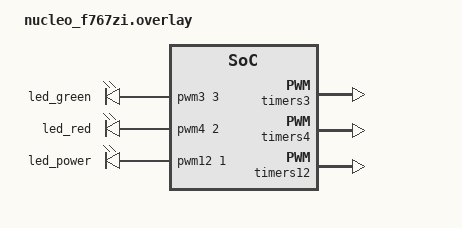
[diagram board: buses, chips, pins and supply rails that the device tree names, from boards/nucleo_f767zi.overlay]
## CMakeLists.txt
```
# Copyright (c) 2024-2025 O.S. Systems Software LTDA.
# Copyright (c) 2024-2025 Freedom Veiculos Eletricos
# SPDX-License-Identifier: Apache-2.0

cmake_minimum_required(VERSION 3.20.0)

find_package(Zephyr REQUIRED HINTS $ENV{ZEPHYR_BASE})
include(${ZEPHYR_ZEPHYRBT_MODULE_DIR}/cmake/zephyrbt-from-behaviourtreecpp-xml.cmake)

project(zephyrbt_tutorial)

zephyr_include_directories(
	${CMAKE_CURRENT_SOURCE_DIR}/include
)

target_sources(app PRIVATE
	src/main.c
	src/fridge.c
	src/global_ctx.c
	src/grab_beer.c
	src/zbus_peripherals.c
)

zephyrbt_define_from_behaviourtreecpp_xml(app
	models/tutorial.xml
	${CMAKE_BINARY_DIR}/include
	${CMAKE_BINARY_DIR}/src
	1024
	0
	yes
)
```

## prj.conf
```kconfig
# Copyright (c) 2024 O.S. Systems Software LTDA.
# Copyright (c) 2024 Freedom Veiculos Eletricos
# SPDX-License-Identifier: Apache-2.0

CONFIG_LOG=y
CONFIG_LOG_MODE_MINIMAL=y

CONFIG_ZEPHYR_BEHAVIOUR_TREE=y
CONFIG_ZEPHYR_BEHAVIOUR_TREE_DYNAMIC=y
CONFIG_ZEPHYR_BEHAVIOUR_TREE_NODE_INFO=y
CONFIG_ZEPHYR_BEHAVIOUR_TREE_NODE_INIT=y
CONFIG_ZEPHYR_BEHAVIOUR_TREE_NODE_CONTEXT=y
CONFIG_ZEPHYR_BEHAVIOUR_TREE_LOG_LEVEL_DBG=y

CONFIG_DYNAMIC_THREAD=y
CONFIG_DYNAMIC_THREAD_POOL_SIZE=10
CONFIG_THREAD_STACK_INFO=y

CONFIG_KERNEL_MEM_POOL=y
CONFIG_HEAP_MEM_POOL_SIZE=8192

CONFIG_ZBUS=y
CONFIG_PWM=y
CONFIG_LED=y
```

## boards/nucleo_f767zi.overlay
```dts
/*
 * Copyright (c) 2024 O.S. Systems Software LTDA.
 * Copyright (c) 2024 Freedom Veiculos Eletricos
 * SPDX-License-Identifier: Apache-2.0
 */

/ {
	/delete-node/ aliases;
	/delete-node/ leds;

        pwmleds: pwmleds {
                compatible = "pwm-leds";
                led_green: led_green {
                        pwms = <&pwm3 3 PWM_MSEC(20) PWM_POLARITY_NORMAL>;
                };
                led_red: led_red {
                        pwms = <&pwm4 2 PWM_MSEC(20) PWM_POLARITY_NORMAL>;
                };
                led_power: led_power {
                        pwms = <&pwm12 1 PWM_MSEC(20) PWM_POLARITY_NORMAL>;
                };
        };
};

&timers3 {
	st,prescaler = <10000>;
	status = "okay";

	pwm3: pwm {
		status = "okay";
		pinctrl-0 = <&tim3_ch3_pb0>;
		pinctrl-names = "default";
	};
};

&timers4 {
	st,prescaler = <10000>;
	status = "okay";

	pwm4: pwm {
		status = "okay";
		pinctrl-0 = <&tim4_ch2_pb7>;
		pinctrl-names = "default";
	};
};

&timers12 {
	st,prescaler = <10000>;
	status = "okay";

	pwm12: pwm {
		status = "okay";
		pinctrl-0 = <&tim12_ch1_pb14>;
		pinctrl-names = "default";
	};
};
```

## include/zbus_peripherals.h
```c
/*
 * Copyright (c) 2024 O.S. Systems Software LTDA.
 * Copyright (c) 2024 Freedom Veiculos Eletricos
 *
 * SPDX-License-Identifier: Apache-2.0
 */

#ifndef ZBUS_PERIPHERALS_H
#define ZBUS_PERIPHERALS_H

enum led_state {
	LEDS_STATES_OFF = 1,
	LEDS_STATES_ON,
	LEDS_STATES_PWM,
} __attribute__((__packed__));

struct pwm_led_state {
	enum led_state state;
	uint32_t high_period;
	uint32_t low_period;
} __attribute__((__packed__));

struct tutorial_peripherals {
	struct pwm_led_state led_green;
	struct pwm_led_state led_red;
};

#define ZBUS_PERIPHERAL_WRITE(...)                                                                 \
	zbus_chan_pub(&peripherals_channel, ((struct tutorial_peripherals[]){{__VA_ARGS__}}),      \
		      K_NO_WAIT)

#endif
```

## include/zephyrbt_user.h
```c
/*
 * Copyright (c) 2024 O.S. Systems Software LTDA.
 * Copyright (c) 2024 Freedom Veiculos Eletricos
 *
 * SPDX-License-Identifier: Apache-2.0
 */

#ifndef ZEPHYRBT_USER_H
#define ZEPHYRBT_USER_H

struct tutorial_context {
	uint8_t my_global_var;
};

#endif /* ZEPHYRBT_USER_H */
```

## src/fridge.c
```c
/*
 * Copyright (c) 2024 O.S. Systems Software LTDA.
 * Copyright (c) 2024 Freedom Veiculos Eletricos
 *
 * SPDX-License-Identifier: Apache-2.0
 */

#include <stdint.h>
#include <zephyr/sys/util.h>
#include <zephyr/zephyrbt/zephyrbt.h>
#include <zephyr/zbus/zbus.h>

#include <zephyr/logging/log.h>
LOG_MODULE_REGISTER(fridge, CONFIG_ZEPHYR_BEHAVIOUR_TREE_LOG_LEVEL);

ZBUS_CHAN_DECLARE(peripherals_channel);

#include "tutorial.h"
#include "zbus_peripherals.h"

struct zephyrbt_action_fridge_context {
	struct zephyrbt_blackboard_item *is_open;
};

enum zephyrbt_child_status zephyrbt_action_open_init(struct zephyrbt_context *ctx,
						     struct zephyrbt_node *self)
{
	struct zephyrbt_action_fridge_context *fridge_ctx;

	fridge_ctx = k_malloc(sizeof(struct zephyrbt_action_fridge_context));
	self->ctx = fridge_ctx;

	if (fridge_ctx == NULL) {
		LOG_ERR("Context can not be allocate. Need more memory!!");
		return ZEPHYRBT_CHILD_FAILURE_STATUS;
	}

	memset(fridge_ctx, 0, sizeof(struct zephyrbt_action_fridge_context));

	fridge_ctx->is_open = zephyrbt_search_blackboard(
		ctx, self->index, ZEPHYRBT_OPEN_ATTRIBUTE_FRIDGE_DOOR_IS_OPEN);

	if (fridge_ctx->is_open == NULL) {
		LOG_ERR("Not possible to get fridge 'is_open' slot");
		return ZEPHYRBT_CHILD_FAILURE_STATUS;
	}

	return ZEPHYRBT_CHILD_SUCCESS_STATUS;
}

enum zephyrbt_child_status zephyrbt_action_close_init(struct zephyrbt_context *ctx,
						      struct zephyrbt_node *self)
{
	struct zephyrbt_action_fridge_context *fridge_ctx;

	fridge_ctx = k_malloc(sizeof(struct zephyrbt_action_fridge_context));
	self->ctx = fridge_ctx;

	if (fridge_ctx == NULL) {
		LOG_ERR("Context can not be allocate. Need more memory!!");
		return ZEPHYRBT_CHILD_FAILURE_STATUS;
	}

	memset(fridge_ctx, 0, sizeof(struct zephyrbt_action_fridge_context));

	fridge_ctx->is_open = zephyrbt_search_blackboard(
		ctx, self->index, ZEPHYRBT_CLOSE_ATTRIBUTE_FRIDGE_DOOR_IS_OPEN);

	if (fridge_ctx->is_open == NULL) {
		LOG_ERR("Not possible to get fridge 'is_open' slot");
		return ZEPHYRBT_CHILD_FAILURE_STATUS;
	}

	return ZEPHYRBT_CHILD_SUCCESS_STATUS;
}

enum zephyrbt_child_status zephyrbt_action_open(struct zephyrbt_context *ctx,
						struct zephyrbt_node *self)
{
	struct zephyrbt_action_fridge_context *fridge_ctx;
	fridge_ctx = (struct zephyrbt_action_fridge_context *)self->ctx;

	if (fridge_ctx->is_open->item == (zephyrbt_node_context_t) true) {
		LOG_DBG("Fridge is already open, let's skip...");
		return ZEPHYRBT_CHILD_SKIP_STATUS;
	}

	LOG_DBG("Open the fridge door");

	fridge_ctx->is_open->item = (zephyrbt_node_context_t) true;
	ZBUS_PERIPHERAL_WRITE(.led_green.state = LEDS_STATES_ON);

	return ZEPHYRBT_CHILD_SUCCESS_STATUS;
}

enum zephyrbt_child_status zephyrbt_action_close(struct zephyrbt_context *ctx,
						 struct zephyrbt_node *self)
{
	struct zephyrbt_action_fridge_context *fridge_ctx;
	fridge_ctx = (struct zephyrbt_action_fridge_context *)self->ctx;

	if (fridge_ctx->is_open->item == (zephyrbt_node_context_t) false) {
		LOG_DBG("Fridge is already closed, let's skip...");
		return ZEPHYRBT_CHILD_SKIP_STATUS;
	}

	LOG_DBG("Close the fridge door");

	fridge_ctx->is_open->item = (zephyrbt_node_context_t) false;
	ZBUS_PERIPHERAL_WRITE(.led_green.state = LEDS_STATES_OFF);

	return ZEPHYRBT_CHILD_SUCCESS_STATUS;
}
```

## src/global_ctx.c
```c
/*
 * Copyright (c) 2024 O.S. Systems Software LTDA.
 * Copyright (c) 2024 Freedom Veiculos Eletricos
 *
 * SPDX-License-Identifier: Apache-2.0
 */

#include <stdint.h>
#include <zephyr/sys/util.h>
#include <zephyr/zephyrbt/zephyrbt.h>

#include <zephyr/logging/log.h>
LOG_MODULE_REGISTER(global_ctx, CONFIG_ZEPHYR_BEHAVIOUR_TREE_LOG_LEVEL);

#include "tutorial.h"

enum zephyrbt_child_status zephyrbt_action_init_tree_init(struct zephyrbt_context *ctx,
							  struct zephyrbt_node *self)
{
	struct tutorial_context *global_ctx;

	global_ctx = k_malloc(sizeof(struct tutorial_context));
	ctx->user_data = global_ctx;

	if (global_ctx == NULL) {
		LOG_ERR("Context can not be allocate. Need more memory!!");
		return ZEPHYRBT_CHILD_FAILURE_STATUS;
	}

	memset(global_ctx, 0, sizeof(struct tutorial_context));

	return ZEPHYRBT_CHILD_SUCCESS_STATUS;
}
```

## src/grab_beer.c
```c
/*
 * Copyright (c) 2024 O.S. Systems Software LTDA.
 * Copyright (c) 2024 Freedom Veiculos Eletricos
 *
 * SPDX-License-Identifier: Apache-2.0
 */

#include <stdint.h>
#include <zephyr/sys/util.h>
#include <zephyr/zephyrbt/zephyrbt.h>

#include <zephyr/logging/log.h>
LOG_MODULE_REGISTER(grab_beer, CONFIG_ZEPHYR_BEHAVIOUR_TREE_LOG_LEVEL);

struct zephyrbt_action_grab_beer_context {
	int counter;
};

enum zephyrbt_child_status zephyrbt_action_grab_beer_init(struct zephyrbt_context *ctx,
							  struct zephyrbt_node *self)
{
	LOG_DBG("zephyrbt_action_grab_beer_init stub function");

	struct zephyrbt_action_grab_beer_context *grab_beeer_ctx;

	grab_beeer_ctx = k_malloc(sizeof(struct zephyrbt_action_grab_beer_context));
	self->ctx = grab_beeer_ctx;

	if (grab_beeer_ctx == NULL) {
		LOG_ERR("Context can not be allocate. Need more memory!!");
		return ZEPHYRBT_CHILD_FAILURE_STATUS;
	}

	memset(grab_beeer_ctx, 0, sizeof(struct zephyrbt_action_grab_beer_context));

	return ZEPHYRBT_CHILD_SUCCESS_STATUS;
}

enum zephyrbt_child_status zephyrbt_action_grab_beer(struct zephyrbt_context *ctx,
						     struct zephyrbt_node *self)
{
	struct zephyrbt_action_grab_beer_context *grab_beeer_ctx;
	grab_beeer_ctx = (struct zephyrbt_action_grab_beer_context *)self->ctx;

	++grab_beeer_ctx->counter;

	LOG_DBG("\nGrab Beer try: %d\n", grab_beeer_ctx->counter);
	k_msleep(1000);

	if (grab_beeer_ctx->counter < 3) {
		return ZEPHYRBT_CHILD_SUCCESS_STATUS;
	}

	return ZEPHYRBT_CHILD_FAILURE_STATUS;
}
```

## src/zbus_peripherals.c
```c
/*
 * Copyright (c) 2024 O.S. Systems Software LTDA.
 * Copyright (c) 2024 Freedom Veiculos Eletricos
 *
 * SPDX-License-Identifier: Apache-2.0
 */

#include <zephyr/kernel.h>
#include <zephyr/drivers/led.h>
#include <zephyr/zbus/zbus.h>

#include <zephyr/logging/log.h>
LOG_MODULE_REGISTER(peripherals, CONFIG_ZEPHYR_BEHAVIOUR_TREE_LOG_LEVEL);

#include "zbus_peripherals.h"

ZBUS_CHAN_DEFINE(peripherals_channel, struct tutorial_peripherals, NULL, NULL,
		 ZBUS_OBSERVERS(peripherals_thread_subscriber), ZBUS_MSG_INIT(0));
ZBUS_SUBSCRIBER_DEFINE(peripherals_thread_subscriber, 4);

static const char *peripherals_leds_state[] = {
	"Undefined",
	"off",
	"on",
	"blink",
};

static int _set_led(struct pwm_led_state *current_state, struct pwm_led_state *new_state,
		    uint32_t index, const char *name)
{
	static const struct device *const dev = DEVICE_DT_GET(DT_NODELABEL(pwmleds));
	int ret = 0;

	if (memcmp(current_state, new_state, sizeof(struct pwm_led_state)) == 0) {
		return ret;
	}

	LOG_INF("set %s %s", name, peripherals_leds_state[new_state->state]);

	switch (new_state->state) {
	case LEDS_STATES_OFF:
		ret = led_off(dev, index);
		break;
	case LEDS_STATES_ON:
		ret = led_on(dev, index);
		break;
	case LEDS_STATES_PWM:
		ret = led_blink(dev, index, new_state->high_period, new_state->low_period);
		break;
	}

	if (ret) {
		LOG_ERR("fail to set %s %s", name, peripherals_leds_state[new_state->state]);
		return ret;
	}

	memcpy(current_state, new_state, sizeof(struct pwm_led_state));

	return ret;
}

#define set_led(new_state, dt_name)                                                                \
	static struct pwm_led_state current_##dt_name;                                             \
	static const uint32_t index_##dt_name = DT_NODE_CHILD_IDX(DT_NODELABEL(dt_name));          \
	_set_led(&current_##dt_name, new_state, index_##dt_name, STRINGIFY(dt_name))

static void peripherals_thread(void)
{
	const struct zbus_channel *channel;
	struct tutorial_peripherals peripherals;

	LOG_DBG("peripherals_thread");

	while (!zbus_sub_wait(&peripherals_thread_subscriber, &channel, K_FOREVER)) {
		zbus_chan_read(&peripherals_channel, &peripherals, K_FOREVER);

		if (peripherals.led_green.state) {
			set_led(&peripherals.led_green, led_green);
		}
		if (peripherals.led_red.state) {
			set_led(&peripherals.led_red, led_red);
		}
	}
}

K_THREAD_DEFINE(peripherals_thread_id, 2048, peripherals_thread, NULL, NULL, NULL,
		(CONFIG_MAIN_THREAD_PRIORITY + 4), 0, 0);
```
